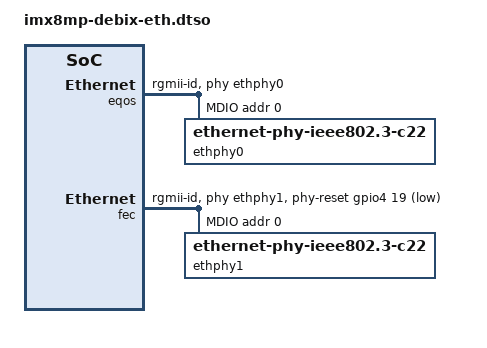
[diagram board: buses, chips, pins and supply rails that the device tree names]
/dts-v1/;
/plugin/;

#include "imx8mp-pinfunc.h"


&eqos {
	pinctrl-names = "default";
	pinctrl-0 = <&pinctrl_eqos>;
	phy-mode = "rgmii-id";
	phy-handle = <&ethphy0>;
	snps,force_thresh_dma_mode;
	snps,mtl-tx-config = <&mtl_tx_setup>;
	snps,mtl-rx-config = <&mtl_rx_setup>;
	snps,reset-gpios = <&gpio4 18 GPIO_ACTIVE_LOW>;
	snps,reset-delays-us = <10 20 200000>;
	status = "okay";

	mdio {
		compatible = "snps,dwmac-mdio";
		#address-cells = <1>;
		#size-cells = <0>;

		ethphy0: ethernet-phy@0 {
			compatible = "ethernet-phy-ieee802.3-c22";
			reg = <0>;
			// eee-broken-1000t;
			// realtek,clkout-disable;
			at803x,led-act-blind-workaround;
			at803x,eee-disabled;
			at803x,vddio-1p8v;
		};
	};

	mtl_tx_setup: tx-queues-config {
		snps,tx-queues-to-use = <5>;
		snps,tx-sched-sp;
		queue0 {
			snps,dcb-algorithm;
			snps,priority = <0x1>;
		};
		queue1 {
			snps,dcb-algorithm;
			snps,priority = <0x2>;
		};
		queue2 {
			snps,dcb-algorithm;
			snps,priority = <0x4>;
		};
		queue3 {
			snps,dcb-algorithm;
			snps,priority = <0x8>;
		};
		queue4 {
			snps,dcb-algorithm;
			snps,priority = <0xf0>;
		};
	};
	mtl_rx_setup: rx-queues-config {
		snps,rx-queues-to-use = <5>;
		snps,rx-sched-sp;
		queue0 {
			snps,dcb-algorithm;
			snps,priority = <0x1>;
			snps,map-to-dma-channel = <0>;
		};
		queue1 {
			snps,dcb-algorithm;
			snps,priority = <0x2>;
			snps,map-to-dma-channel = <1>;
		};
		queue2 {
			snps,dcb-algorithm;
			snps,priority = <0x4>;
			snps,map-to-dma-channel = <2>;
		};
		queue3 {
			snps,dcb-algorithm;
			snps,priority = <0x8>;
			snps,map-to-dma-channel = <3>;
		};
		queue4 {
			snps,dcb-algorithm;
			snps,priority = <0xf0>;
			snps,map-to-dma-channel = <4>;
		};
	};
};

&fec {
	pinctrl-names = "default";
	pinctrl-0 = <&pinctrl_fec>;
	phy-mode = "rgmii-id";
	phy-handle = <&ethphy1>;
	fsl,magic-packet;
	fsl,rgmii_rxc_dly;
	phy-reset-gpios = <&gpio4 19 GPIO_ACTIVE_LOW>;
	phy-reset-duration = <10>;
	phy-reset-post-delay = <150>;
	status = "okay";

	mdio {
		#address-cells = <1>;
		#size-cells = <0>;

		ethphy1: ethernet-phy@0 {
			compatible = "ethernet-phy-ieee802.3-c22";
			reg = <0>;
			//eee-broken-1000t;
			//reset-gpios = <&gpio4 2 GPIO_ACTIVE_LOW>;
		//	reset-assert-us = <10000>;
		//	reset-deassert-us = <80000>;
		//	realtek,aldps-enable;
		//	realtek,clkout-disable;
			at803x,led-act-blind-workaround;
			at803x,eee-disabled;
			at803x,vddio-1p8v;
		};
	};
};


&iomuxc {
	pinctrl_eqos: eqosgrp {
		fsl,pins = <
			MX8MP_IOMUXC_ENET_MDC__ENET_QOS_MDC				0x2
			MX8MP_IOMUXC_ENET_MDIO__ENET_QOS_MDIO				0x2
			MX8MP_IOMUXC_ENET_RD0__ENET_QOS_RGMII_RD0			0x90
			MX8MP_IOMUXC_ENET_RD1__ENET_QOS_RGMII_RD1			0x90
			MX8MP_IOMUXC_ENET_RD2__ENET_QOS_RGMII_RD2			0x90
			MX8MP_IOMUXC_ENET_RD3__ENET_QOS_RGMII_RD3			0x90
			MX8MP_IOMUXC_ENET_RXC__CCM_ENET_QOS_CLOCK_GENERATE_RX_CLK	0x90
			MX8MP_IOMUXC_ENET_RX_CTL__ENET_QOS_RGMII_RX_CTL			0x90
			MX8MP_IOMUXC_ENET_TD0__ENET_QOS_RGMII_TD0			0x16
			MX8MP_IOMUXC_ENET_TD1__ENET_QOS_RGMII_TD1			0x16
			MX8MP_IOMUXC_ENET_TD2__ENET_QOS_RGMII_TD2			0x16
			MX8MP_IOMUXC_ENET_TD3__ENET_QOS_RGMII_TD3			0x16
			MX8MP_IOMUXC_ENET_TX_CTL__ENET_QOS_RGMII_TX_CTL			0x16
			MX8MP_IOMUXC_ENET_TXC__CCM_ENET_QOS_CLOCK_GENERATE_TX_CLK	0x16
		//	MX8MP_IOMUXC_SAI2_RXC__GPIO4_IO22				0x10
			
			MX8MP_IOMUXC_SAI1_RXFS__ENET1_1588_EVENT0_IN    0x16
			MX8MP_IOMUXC_SAI1_RXC__ENET1_1588_EVENT0_OUT    0x16
			MX8MP_IOMUXC_SAI1_TXD6__GPIO4_IO18		0x10
		>;
	};

	pinctrl_fec: fecgrp {
		fsl,pins = <
			MX8MP_IOMUXC_SAI1_RXD2__ENET1_MDC		0x2
			MX8MP_IOMUXC_SAI1_RXD3__ENET1_MDIO		0x2
			MX8MP_IOMUXC_SAI1_RXD4__ENET1_RGMII_RD0		0x90
			MX8MP_IOMUXC_SAI1_RXD5__ENET1_RGMII_RD1		0x90
			MX8MP_IOMUXC_SAI1_RXD6__ENET1_RGMII_RD2		0x90
			MX8MP_IOMUXC_SAI1_RXD7__ENET1_RGMII_RD3		0x90
			MX8MP_IOMUXC_SAI1_TXC__ENET1_RGMII_RXC		0x90
			MX8MP_IOMUXC_SAI1_TXFS__ENET1_RGMII_RX_CTL	0x90
			MX8MP_IOMUXC_SAI1_TXD0__ENET1_RGMII_TD0		0x16
			MX8MP_IOMUXC_SAI1_TXD1__ENET1_RGMII_TD1		0x16
			MX8MP_IOMUXC_SAI1_TXD2__ENET1_RGMII_TD2		0x16
			MX8MP_IOMUXC_SAI1_TXD3__ENET1_RGMII_TD3		0x16
			MX8MP_IOMUXC_SAI1_TXD4__ENET1_RGMII_TX_CTL	0x16
			MX8MP_IOMUXC_SAI1_TXD5__ENET1_RGMII_TXC		0x16
			// MX8MP_IOMUXC_SAI1_RXD0__GPIO4_IO02		0x10
			MX8MP_IOMUXC_SAI1_RXD1__ENET1_1588_EVENT1_OUT   0x16
			MX8MP_IOMUXC_SAI1_RXD0__ENET1_1588_EVENT1_IN    0x16
			MX8MP_IOMUXC_SAI1_TXD7__GPIO4_IO19		0x10
		>;
	};
};
